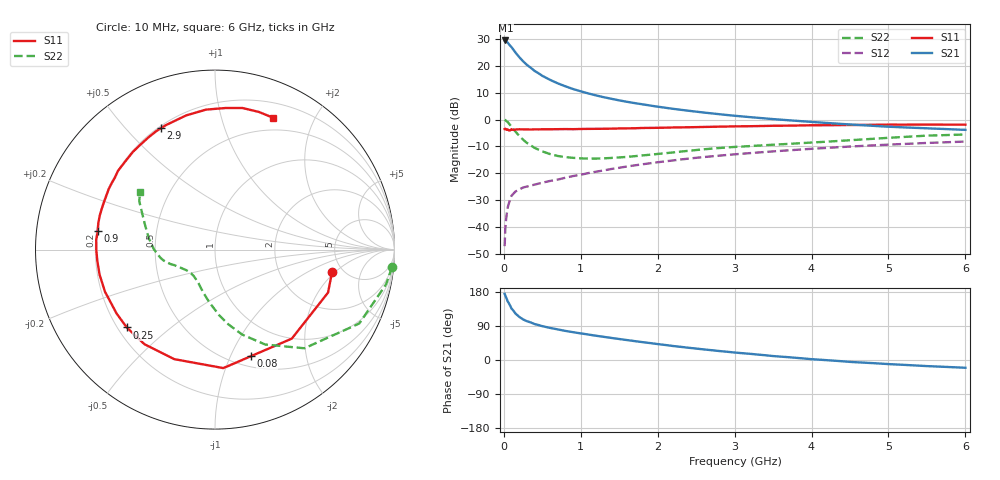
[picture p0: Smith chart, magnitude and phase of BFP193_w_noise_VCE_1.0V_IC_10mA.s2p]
! Infineon Technologies  Discrete & RF Semiconductors
! BFP193
! VCE =  1.0 V,  IC =  10 mA
! Common Emitter S-Parameters:  Jan 2017
# GHz  S  MA  R  50
!  f  S11  S21  S12  S22
! GHz  MAG  ANG  MAG  ANG  MAG  ANG  MAG  ANG
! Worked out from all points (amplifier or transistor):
!   77 points, 10 MHz to 6 GHz, reference 50 ohm
!   highest |S21| = 29.4 dB at 20 MHz (marker M1)
!   |S21| within 3 dB of that: start of sweep to 113.1 MHz
!   unconditionally stable (mu >= 1): 1.081 GHz to 2.965 GHz
!   at 130 MHz: K = 0.24, MSG = 26.6 dB, |S12| = -27.4 dB
!   at 2.2 GHz: K = 1.05, MAG = 8.3 dB, |S12| = -15.2 dB
!   at 6 GHz: K = 0.95, MSG = 2.2 dB, |S12| = -8.2 dB
!   lowest NFmin = 0.87 dB at 450 MHz
!   S11 on the Smith chart (normalised r, x): 10 MHz: 4.12, -1.80; 80 MHz: 0.61, -1.19; 250 MHz: 0.24, -0.36; 900 MHz: 0.21, +0.07; 2.9 GHz: 0.21, +0.63; 6 GHz: 0.36, +1.47
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0.01  0.664 -10.6  29.34 174.8  0.0044 86.5  0.9914 -5.6
0.02  0.6739 -20.8  29.57 169.6  0.0098 83.0  0.9729 -11.4
0.05  0.655 -49.2  27.03 154.8  0.023 69.7  0.9033 -27.1
0.08  0.6268 -71.5  23.8 144.2  0.0319 59.7  0.7935 -38.5
0.1  0.6618 -86.0  22.2 135.7  0.0382 55.7  0.742 -47.8
0.15  0.6512 -110.4  17.72 122.8  0.0456 46.6  0.5985 -62.1
0.2  0.6575 -126.7  14.51 113.9  0.0499 42.2  0.4968 -72.3
0.25  0.6557 -138.6  12.13 107.1  0.0544 39.7  0.4219 -80.0
0.3  0.6537 -147.0  10.38 102.4  0.0566 38.8  0.3669 -86.3
0.4  0.6563 -159.0  8.026 94.8  0.0615 39.1  0.2966 -95.9
0.5  0.6581 -167.8  6.505 89.3  0.0667 39.9  0.255 -103.6
0.6  0.6585 -174.3  5.479 84.7  0.0719 41.8  0.2278 -110.2
0.7  0.661 -179.6  4.715 80.8  0.0763 43.4  0.2098 -115.7
0.9  0.6612 171.1  3.69 73.4  0.0887 45.6  0.1938 -124.7
1.1  0.6696 163.6  3.053 67.2  0.1008 47.2  0.1879 -132.3
1.5  0.6815 150.4  2.269 55.4  0.1265 47.6  0.1969 -144.4
2.1  0.7052 132.7  1.656 39.6  0.1667 44.8  0.2362 -157.5
2.9  0.7408 113.9  1.214 21.8  0.2188 38.2  0.3017 -170.2
3.1  0.7476 109.7  1.141 18.0  0.231 36.3  0.3144 -173.7
4.1  0.7822 92.1  0.882 0.9  0.2906 26.4  0.3798 168.5
5.1  0.803 77.7  0.724 -11.8  0.3458 15.6  0.4652 151.8
6  0.8027 66.3  0.642 -20.5  0.389 5.7  0.5263 142.4
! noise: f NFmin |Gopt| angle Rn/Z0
0.45  0.87  0.21  156  0.07
0.9  1  0.35  173  0.06
1.9  1.75  0.57  -146  0.13
2.4  2.13  0.63  -128  0.31
